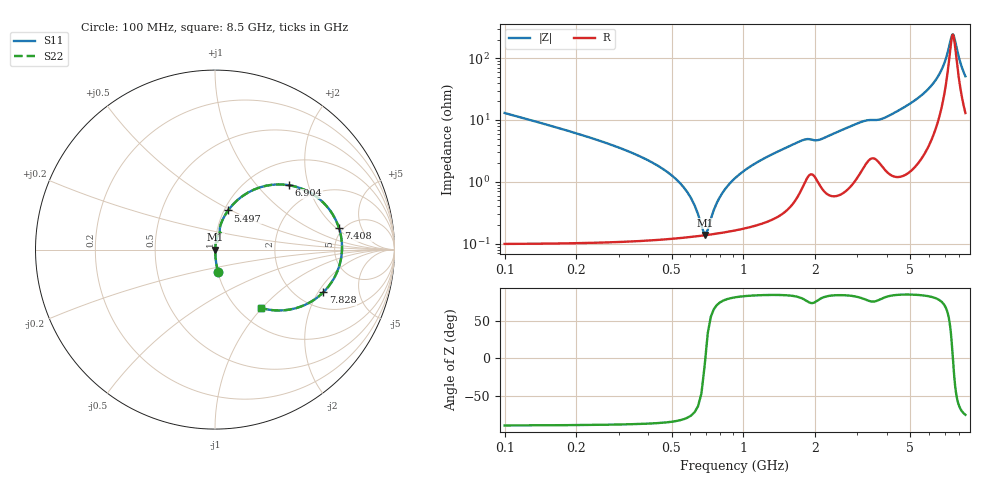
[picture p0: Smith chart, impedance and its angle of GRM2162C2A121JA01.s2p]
!Murata Part Number: GRM2162C2A121JA01
!These Parameters are Measured in Series Mode Connection
!Data Generated on Mar 30, 2021
!  o--ll--o
!Port1  Port2
!  o------o
!Operation Temp=25[degC], DC Bias Voltage=0[V]
!Freq. Start=100[MHz] Stop=9[GHz] 401[Steps]
# Hz S RI R 50
!Freq.(Hz) S11(Real) S11(Imag) S21(Real) S21(Imag) S12(Real) S12(Imag) S22(Real) S22(Imag)
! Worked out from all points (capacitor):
!   401 points, 100 MHz to 8.5 GHz, reference 50 ohm
!   read as one part in series: C = 120 pF near 142 MHz
!   lowest |Z| = 139 mohm at 688 MHz (marker M1)
!   series resonance near 692.2 MHz, so ESL is about 440 pH
!   S11 on the Smith chart (normalised r, x): 100 MHz: 1.00, -0.26; 5.497 GHz: 1.04, +0.48; 6.904 GHz: 1.48, +1.51; 7.408 GHz: 4.64, +2.17; 7.828 GHz: 2.72, -2.23; 8.5 GHz: 1.26, -0.99
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1e8  0.0175 -0.1275  0.9825 0.1275  0.9825 0.1275  0.0175 -0.1275
5.2e8  0.00134 -0.0111  0.9987 0.0111  0.9987 0.0111  0.00134 -0.0111
6.88e8  0.00136 -0.000232  0.9986 0.000232  0.9986 0.000232  0.00136 -0.000232
7.3e8  0.00141 0.00205  0.9986 -0.00205  0.9986 -0.00205  0.00141 0.00205
8.14e8  0.00154 0.0063  0.9985 -0.0063  0.9985 -0.0063  0.00154 0.0063
9.4e8  0.0018 0.0121  0.9982 -0.0121  0.9982 -0.0121  0.0018 0.0121
1.171e9  0.00252 0.0217  0.9975 -0.0217  0.9975 -0.0217  0.00252 0.0217
1.507e9  0.0046 0.0352  0.9954 -0.0352  0.9954 -0.0352  0.0046 0.0352
1.78e9  0.0107 0.0459  0.9893 -0.0459  0.9893 -0.0459  0.0107 0.0459
2.074e9  0.0113 0.0459  0.9887 -0.0459  0.9887 -0.0459  0.0113 0.0459
2.914e9  0.0166 0.0814  0.9834 -0.0814  0.9834 -0.0814  0.0166 0.0814
4.3e9  0.0283 0.1259  0.9717 -0.1259  0.9717 -0.1259  0.0283 0.1259
5.497e9  0.0731 0.2183  0.9269 -0.2183  0.9269 -0.2183  0.0731 0.2183
5.707e9  0.0905 0.2405  0.9095 -0.2405  0.9095 -0.2405  0.0905 0.2405
6.4e9  0.2051 0.3286  0.7949 -0.3286  0.7949 -0.3286  0.2051 0.3286
6.904e9  0.4112 0.3589  0.5888 -0.3589  0.5888 -0.3589  0.4112 0.3589
7.114e9  0.5396 0.3117  0.4604 -0.3117  0.4604 -0.3117  0.5396 0.3117
7.408e9  0.6911 0.1191  0.3089 -0.1191  0.3089 -0.1191  0.6911 0.1191
7.576e9  0.7041 -0.0391  0.2959 0.0391  0.2959 0.0391  0.7041 -0.0391
7.828e9  0.6041 -0.2371  0.3959 0.2371  0.3959 0.2371  0.6041 -0.2371
8.101e9  0.4384 -0.3295  0.5616 0.3295  0.5616 0.3295  0.4384 -0.3295
8.5e9  0.2564 -0.3245  0.7436 0.3245  0.7436 0.3245  0.2564 -0.3245
